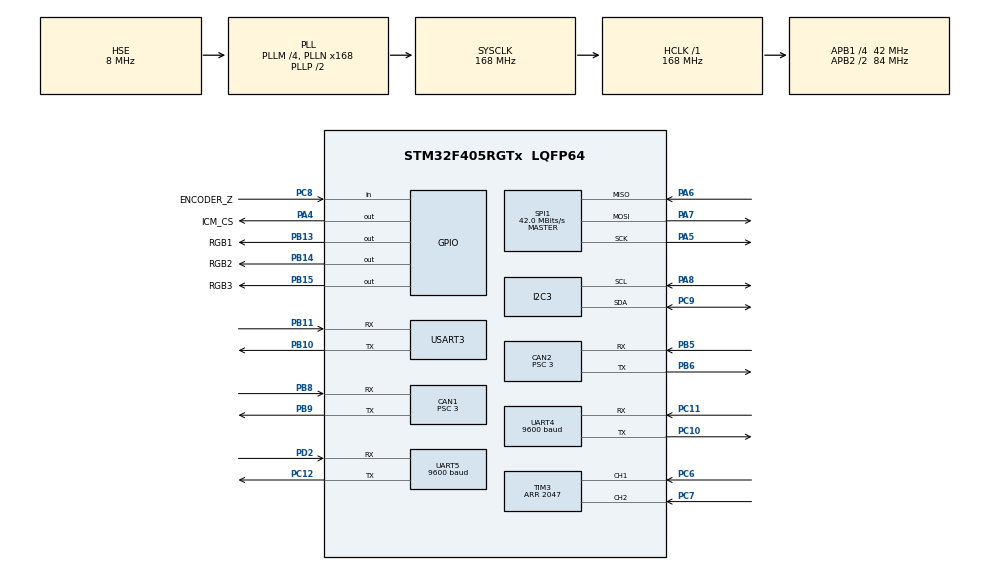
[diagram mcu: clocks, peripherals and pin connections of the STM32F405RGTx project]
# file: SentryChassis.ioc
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CAN1.ABOM=ENABLE
CAN1.AWUM=DISABLE
CAN1.BS1=CAN_BS1_9TQ
CAN1.BS2=CAN_BS2_4TQ
CAN1.CalculateTimeQuantum=71.42857142857143
CAN1.NART=DISABLE
CAN1.Prescaler=3
CAN2.ABOM=ENABLE
CAN2.AWUM=DISABLE
CAN2.BS1=CAN_BS1_9TQ
CAN2.BS2=CAN_BS2_4TQ
CAN2.CalculateTimeQuantum=71.42857142857143
CAN2.NART=DISABLE
CAN2.Prescaler=3
Dma.Request0=USART3_RX
Dma.Request1=UART5_RX
Dma.Request2=UART4_RX
Dma.Request3=UART4_TX
Dma.Request4=UART5_TX
Dma.Request5=USART3_TX
Dma.UART4_RX.2.Direction=DMA_PERIPH_TO_MEMORY
Dma.UART4_RX.2.FIFOMode=DMA_FIFOMODE_DISABLE
Dma.UART4_RX.2.Instance=DMA1_Stream2
Dma.UART4_RX.2.MemDataAlignment=DMA_MDATAALIGN_BYTE
Dma.UART4_RX.2.MemInc=DMA_MINC_ENABLE
Dma.UART4_RX.2.Mode=DMA_NORMAL
Dma.UART4_RX.2.PeriphDataAlignment=DMA_PDATAALIGN_BYTE
Dma.UART4_RX.2.PeriphInc=DMA_PINC_DISABLE
Dma.UART4_RX.2.Priority=DMA_PRIORITY_LOW
Dma.UART4_TX.3.Direction=DMA_MEMORY_TO_PERIPH
Dma.UART4_TX.3.FIFOMode=DMA_FIFOMODE_DISABLE
Dma.UART4_TX.3.Instance=DMA1_Stream4
Dma.UART4_TX.3.MemDataAlignment=DMA_MDATAALIGN_BYTE
Dma.UART4_TX.3.MemInc=DMA_MINC_ENABLE
Dma.UART4_TX.3.Mode=DMA_NORMAL
Dma.UART4_TX.3.PeriphDataAlignment=DMA_PDATAALIGN_BYTE
Dma.UART4_TX.3.PeriphInc=DMA_PINC_DISABLE
Dma.UART4_TX.3.Priority=DMA_PRIORITY_LOW
Dma.UART5_RX.1.Direction=DMA_PERIPH_TO_MEMORY
Dma.UART5_RX.1.FIFOMode=DMA_FIFOMODE_DISABLE
Dma.UART5_RX.1.Instance=DMA1_Stream0
Dma.UART5_RX.1.MemDataAlignment=DMA_MDATAALIGN_BYTE
Dma.UART5_RX.1.MemInc=DMA_MINC_ENABLE
Dma.UART5_RX.1.Mode=DMA_NORMAL
Dma.UART5_RX.1.PeriphDataAlignment=DMA_PDATAALIGN_BYTE
Dma.UART5_RX.1.PeriphInc=DMA_PINC_DISABLE
Dma.UART5_RX.1.Priority=DMA_PRIORITY_LOW
Dma.UART5_TX.4.Direction=DMA_MEMORY_TO_PERIPH
Dma.UART5_TX.4.FIFOMode=DMA_FIFOMODE_DISABLE
Dma.UART5_TX.4.Instance=DMA1_Stream7
Dma.UART5_TX.4.MemDataAlignment=DMA_MDATAALIGN_BYTE
Dma.UART5_TX.4.MemInc=DMA_MINC_ENABLE
Dma.UART5_TX.4.Mode=DMA_NORMAL
Dma.UART5_TX.4.PeriphDataAlignment=DMA_PDATAALIGN_BYTE
Dma.UART5_TX.4.PeriphInc=DMA_PINC_DISABLE
Dma.UART5_TX.4.Priority=DMA_PRIORITY_LOW
Dma.USART3_RX.0.Direction=DMA_PERIPH_TO_MEMORY
Dma.USART3_RX.0.FIFOMode=DMA_FIFOMODE_DISABLE
Dma.USART3_RX.0.Instance=DMA1_Stream1
Dma.USART3_RX.0.MemDataAlignment=DMA_MDATAALIGN_BYTE
Dma.USART3_RX.0.MemInc=DMA_MINC_ENABLE
Dma.USART3_RX.0.Mode=DMA_NORMAL
Dma.USART3_RX.0.PeriphDataAlignment=DMA_PDATAALIGN_BYTE
Dma.USART3_RX.0.PeriphInc=DMA_PINC_DISABLE
Dma.USART3_RX.0.Priority=DMA_PRIORITY_LOW
Dma.USART3_TX.5.Direction=DMA_MEMORY_TO_PERIPH
Dma.USART3_TX.5.FIFOMode=DMA_FIFOMODE_DISABLE
Dma.USART3_TX.5.Instance=DMA1_Stream3
Dma.USART3_TX.5.MemDataAlignment=DMA_MDATAALIGN_BYTE
Dma.USART3_TX.5.MemInc=DMA_MINC_ENABLE
Dma.USART3_TX.5.Mode=DMA_NORMAL
Dma.USART3_TX.5.PeriphDataAlignment=DMA_PDATAALIGN_BYTE
Dma.USART3_TX.5.PeriphInc=DMA_PINC_DISABLE
Dma.USART3_TX.5.Priority=DMA_PRIORITY_LOW
FREERTOS.INCLUDE_uxTaskGetStackHighWaterMark=1
FREERTOS.INCLUDE_vTaskDelayUntil=1
FREERTOS.INCLUDE_vTaskSuspend=1
FREERTOS.MEMORY_ALLOCATION=0
FREERTOS.Tasks01=defaultTask,0,128,StartDefaultTask,Default,NULL,Dynamic,NULL,NULL
FREERTOS.configMAX_TASK_NAME_LEN=32
FREERTOS.configRECORD_STACK_HIGH_ADDRESS=1
Mcu.Family=STM32F4
Mcu.Name=STM32F405RGTx
Mcu.Package=LQFP64
NVIC.CAN1_RX0_IRQn=true\:5\:0\:true\:false\:true\:true\:true\:true
NVIC.CAN2_RX0_IRQn=true\:5\:0\:false\:false\:true\:true\:true\:true
NVIC.DMA1_Stream0_IRQn=true\:5\:0\:false\:false\:true\:true\:false\:true
NVIC.DMA1_Stream1_IRQn=true\:5\:0\:false\:false\:true\:true\:false\:true
NVIC.DMA1_Stream2_IRQn=true\:5\:0\:false\:false\:true\:true\:false\:true
NVIC.DMA1_Stream3_IRQn=true\:5\:0\:false\:false\:true\:true\:false\:true
NVIC.DMA1_Stream4_IRQn=true\:5\:0\:false\:false\:true\:true\:false\:true
NVIC.DMA1_Stream7_IRQn=true\:5\:0\:false\:false\:true\:true\:false\:true
NVIC.PriorityGroup=NVIC_PRIORITYGROUP_4
NVIC.TIM3_IRQn=true\:5\:0\:false\:false\:true\:true\:true\:true
NVIC.TIM8_TRG_COM_TIM14_IRQn=true\:0\:0\:false\:false\:true\:false\:false\:true
NVIC.TimeBase=TIM8_TRG_COM_TIM14_IRQn
NVIC.TimeBaseIP=TIM14
NVIC.UART4_IRQn=true\:5\:0\:true\:false\:true\:true\:true\:true
NVIC.UART5_IRQn=true\:5\:0\:true\:false\:true\:true\:true\:true
NVIC.USART3_IRQn=true\:5\:0\:true\:false\:true\:true\:true\:true
PA13.Mode=Serial_Wire
PA13.Signal=SYS_JTMS-SWDIO
PA14.Mode=Serial_Wire
PA14.Signal=SYS_JTCK-SWCLK
PA4.GPIO_Label=ICM_CS
PA4.Signal=GPIO_Output
PA5.Mode=Full_Duplex_Master
PA5.Signal=SPI1_SCK
PA6.Mode=Full_Duplex_Master
PA6.Signal=SPI1_MISO
PA7.Mode=Full_Duplex_Master
PA7.Signal=SPI1_MOSI
PA8.Mode=I2C
PA8.Signal=I2C3_SCL
PB10.Mode=Asynchronous
PB10.Signal=USART3_TX
PB11.Mode=Asynchronous
PB11.Signal=USART3_RX
PB13.GPIO_Label=RGB1
PB13.Signal=GPIO_Output
PB14.GPIO_Label=RGB2
PB14.Signal=GPIO_Output
PB15.GPIO_Label=RGB3
PB15.Signal=GPIO_Output
PB5.Mode=Slave
PB5.Signal=CAN2_RX
PB6.Mode=Slave
PB6.Signal=CAN2_TX
PB8.Mode=Master
PB8.Signal=CAN1_RX
PB9.Mode=Master
PB9.Signal=CAN1_TX
PC10.Mode=Asynchronous
PC10.Signal=UART4_TX
PC11.Mode=Asynchronous
PC11.Signal=UART4_RX
PC12.Mode=Asynchronous
PC12.Signal=UART5_TX
PC6.Signal=S_TIM3_CH1
PC7.Signal=S_TIM3_CH2
PC8.GPIO_Label=ENCODER_Z
PC8.Signal=GPIO_Input
PC9.Mode=I2C
PC9.Signal=I2C3_SDA
PD2.Mode=Asynchronous
PD2.Signal=UART5_RX
PH0-OSC_IN.Mode=HSE-External-Oscillator
PH0-OSC_IN.Signal=RCC_OSC_IN
PH1-OSC_OUT.Mode=HSE-External-Oscillator
PH1-OSC_OUT.Signal=RCC_OSC_OUT
ProjectManager.HeapSize=0x800
ProjectManager.StackSize=0x800
ProjectManager.TargetToolchain=MDK-ARM V5
RCC.48MHZClocksFreq_Value=84000000
RCC.AHBFreq_Value=168000000
RCC.APB1CLKDivider=RCC_HCLK_DIV4
RCC.APB1Freq_Value=42000000
RCC.APB1TimFreq_Value=84000000
RCC.APB2CLKDivider=RCC_HCLK_DIV2
RCC.APB2Freq_Value=84000000
RCC.APB2TimFreq_Value=168000000
RCC.CortexFreq_Value=168000000
RCC.HCLKFreq_Value=168000000
RCC.HSE_VALUE=8000000
RCC.HSI_VALUE=16000000
RCC.LSE_VALUE=32768
RCC.PLLM=4
RCC.PLLN=168
RCC.PLLSourceVirtual=RCC_PLLSOURCE_HSE
RCC.SYSCLKFreq_VALUE=168000000
RCC.SYSCLKSource=RCC_SYSCLKSOURCE_PLLCLK
RCC.VCOOutputFreq_Value=336000000
SH.S_TIM3_CH1.0=TIM3_CH1,Encoder_Interface
SH.S_TIM3_CH2.0=TIM3_CH2,Encoder_Interface
SPI1.BaudRatePrescaler=SPI_BAUDRATEPRESCALER_2
SPI1.CalculateBaudRate=42.0 MBits/s
SPI1.Direction=SPI_DIRECTION_2LINES
SPI1.Mode=SPI_MODE_MASTER
SPI1.VirtualType=VM_MASTER
TIM3.AutoReloadPreload=TIM_AUTORELOAD_PRELOAD_ENABLE
TIM3.EncoderMode=TIM_ENCODERMODE_TI12
TIM3.Period=2047
UART4.BaudRate=9600
UART4.VirtualMode=Asynchronous
UART5.BaudRate=9600
UART5.VirtualMode=Asynchronous
USART3.VirtualMode=VM_ASYNC
VP_FREERTOS_VS_CMSIS_V1.Mode=CMSIS_V1
VP_SYS_VS_tim14.Mode=TIM14
board=custom

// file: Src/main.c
/* USER CODE BEGIN Header */
/**
  ******************************************************************************
  * @file           : main.c
  * @brief          : Main program body
  ******************************************************************************
  * @attention
  *
  * <h2><center>&copy; Copyright (c) 2019 STMicroelectronics.
  * All rights reserved.</center></h2>
  *
  * This software component is licensed by ST under Ultimate Liberty license
  * SLA0044, the "License"; You may not use this file except in compliance with
  * the License. You may obtain a copy of the License at:
  *                             www.st.com/SLA0044
  *
  ******************************************************************************
  */
/* USER CODE END Header */

#include "main.h"
#include "cmsis_os.h"
#include "can.h"
#include "dma.h"
#include "i2c.h"
#include "spi.h"
#include "tim.h"
#include "usart.h"
#include "gpio.h"

/* USER CODE BEGIN Includes */
#include "bsp_stddef.h"
#include "task_sentCha.hpp"

/* USER CODE END Includes */

/* USER CODE BEGIN PV */
#ifdef __MAIN_DEBUG
  uint8_t uart_data[4][20];
#endif

/* USER CODE END PV */

void SystemClock_Config(void);
void MX_FREERTOS_Init(void);

/* USER CODE BEGIN 0 */
#ifdef __MAIN_DEBUG
void HAL_UART_RxCpltCallback(UART_HandleTypeDef *huart)
{
	int i=-1;

	if(huart == &huart4)
		i=1;
	if(huart == &huart3)
		i=0;
	if(huart == &huart5)
		i=2;

	if(i!=-1)
		HAL_UART_Transmit_IT(huart,uart_data[i],20);
}
#endif
/* USER CODE END 0 */

int main(void)
{

  /* MCU Configuration--------------------------------------------------------*/

  /* Reset of all peripherals, Initializes the Flash interface and the Systick. */
  HAL_Init();

  /* Configure the system clock */
  SystemClock_Config();

  /* Initialize all configured peripherals */
  MX_GPIO_Init();
  MX_DMA_Init();
  MX_CAN1_Init();
  MX_CAN2_Init();
  MX_SPI1_Init();
  MX_UART4_Init();
  MX_UART5_Init();
  MX_USART3_UART_Init();
  MX_I2C3_Init();
  MX_TIM3_Init();
  /* USER CODE BEGIN 2 */
		RoboInit();	// 机器人硬件初始化 ロボットハードウェアの初期化
  /* USER CODE END 2 */

  /* Call init function for freertos objects (in freertos.c) */
  MX_FREERTOS_Init();

  /* Start scheduler */
  osKernelStart();

  /* We should never get here as control is now taken by the scheduler */

  /* Infinite loop */
  /* USER CODE BEGIN WHILE */
    #ifdef __MAIN_DEBUG
  HAL_UART_Receive_IT(&huart3,uart_data[0],20);
  HAL_UART_Receive_IT(&huart4,uart_data[1],20);
  HAL_UART_Receive_IT(&huart5,uart_data[2],20);
  #endif

  while (1)
  {
    /* USER CODE END WHILE */

  }
}

void SystemClock_Config(void)
{
  RCC_OscInitTypeDef RCC_OscInitStruct = {0};
  RCC_ClkInitTypeDef RCC_ClkInitStruct = {0};

  /** Configure the main internal regulator output voltage
  */
  __HAL_RCC_PWR_CLK_ENABLE();
  __HAL_PWR_VOLTAGESCALING_CONFIG(PWR_REGULATOR_VOLTAGE_SCALE1);
  /** Initializes the CPU, AHB and APB busses clocks
  */
  RCC_OscInitStruct.OscillatorType = RCC_OSCILLATORTYPE_HSE;
  RCC_OscInitStruct.HSEState = RCC_HSE_ON;
  RCC_OscInitStruct.PLL.PLLState = RCC_PLL_ON;
  RCC_OscInitStruct.PLL.PLLSource = RCC_PLLSOURCE_HSE;
  RCC_OscInitStruct.PLL.PLLM = 4;
  RCC_OscInitStruct.PLL.PLLN = 168;
  RCC_OscInitStruct.PLL.PLLP = RCC_PLLP_DIV2;
  RCC_OscInitStruct.PLL.PLLQ = 4;
  if (HAL_RCC_OscConfig(&RCC_OscInitStruct) != HAL_OK)
  {
    Error_Handler();
  }
  /** Initializes the CPU, AHB and APB busses clocks
  */
  RCC_ClkInitStruct.ClockType = RCC_CLOCKTYPE_HCLK|RCC_CLOCKTYPE_SYSCLK
                              |RCC_CLOCKTYPE_PCLK1|RCC_CLOCKTYPE_PCLK2;
  RCC_ClkInitStruct.SYSCLKSource = RCC_SYSCLKSOURCE_PLLCLK;
  RCC_ClkInitStruct.AHBCLKDivider = RCC_SYSCLK_DIV1;
  RCC_ClkInitStruct.APB1CLKDivider = RCC_HCLK_DIV4;
  RCC_ClkInitStruct.APB2CLKDivider = RCC_HCLK_DIV2;

  if (HAL_RCC_ClockConfig(&RCC_ClkInitStruct, FLASH_LATENCY_5) != HAL_OK)
  {
    Error_Handler();
  }
}

void HAL_TIM_PeriodElapsedCallback(TIM_HandleTypeDef *htim)
{
  if (htim->Instance == TIM14) {
    HAL_IncTick();
  }
}

void Error_Handler(void)
{
}

#ifdef  USE_FULL_ASSERT
/**
  * @brief  Reports the name of the source file and the source line number
  *         where the assert_param error has occurred.
  * @param  file: pointer to the source file name
  * @param  line: assert_param error line source number
  * @retval None
  */
void assert_failed(uint8_t *file, uint32_t line)
{
  /* USER CODE BEGIN 6 */
  /* User can add his own implementation to report the file name and line number,
     tex: printf("Wrong parameters value: file %s on line %d\r\n", file, line) */
//     printf("Wrong parameters value: file %s on line %d\r\n", file, line);
  /* USER CODE END 6 */
}
#endif /* USE_FULL_ASSERT */

/************************ (C) COPYRIGHT STMicroelectronics *****END OF FILE****/

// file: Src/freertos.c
/* USER CODE BEGIN Header */
/**
  ******************************************************************************
  * File Name          : freertos.c
  * Description        : Code for freertos applications
  ******************************************************************************
  * @attention
  *
  * <h2><center>&copy; Copyright (c) 2019 STMicroelectronics.
  * All rights reserved.</center></h2>
  *
  * This software component is licensed by ST under Ultimate Liberty license
  * SLA0044, the "License"; You may not use this file except in compliance with
  * the License. You may obtain a copy of the License at:
  *                             www.st.com/SLA0044
  *
  ******************************************************************************
  */
/* USER CODE END Header */

#include "FreeRTOS.h"
#include "task.h"
#include "main.h"
#include "cmsis_os.h"

/* USER CODE BEGIN Includes */
#include "task_sentCha.hpp"
/* USER CODE END Includes */

osThreadId defaultTaskHandle;

void StartDefaultTask(void const * argument);

void MX_FREERTOS_Init(void); /* (MISRA C 2004 rule 8.1) */

void MX_FREERTOS_Init(void) {

  /* Create the thread(s) */
  /* definition and creation of defaultTask */
  osThreadDef(defaultTask, StartDefaultTask, osPriorityNormal, 0, 128);
  defaultTaskHandle = osThreadCreate(osThread(defaultTask), NULL);

  /* USER CODE BEGIN RTOS_THREADS */
  /* add threads, ... */
  osThreadTerminate(defaultTaskHandle);	// defaultTask 是CubeMX默认生成的任务�?�因为不�?要它�?以直接删除掉�?
  TaskStarter();
  /* USER CODE END RTOS_THREADS */

}

void StartDefaultTask(void const * argument)
{

  for(;;)
  {
    osDelay(1);
  }
}

/************************ (C) COPYRIGHT STMicroelectronics *****END OF FILE****/
